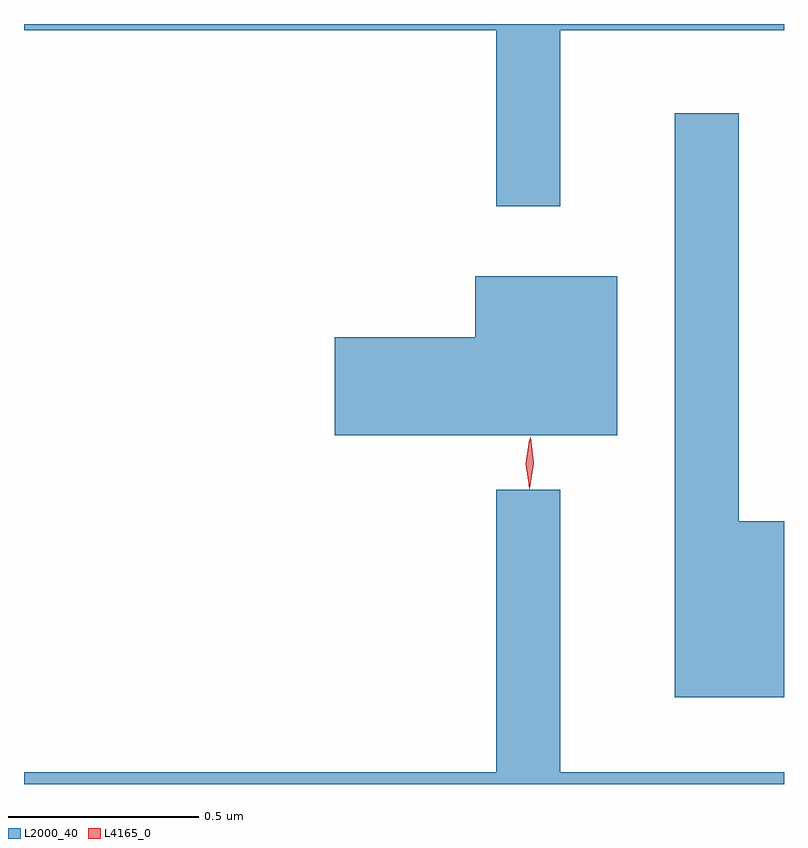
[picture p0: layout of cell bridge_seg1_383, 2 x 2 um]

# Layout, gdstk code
import gdstk
lib = gdstk.Library(unit=1e-6, precision=1e-09)
def P(c, l, *ps):  # polygons
    for p in ps: c.add(gdstk.Polygon(p, *l))
L2000_40 = (2000, 40)
L4165_0 = (4165, 0)

bridge_seg1_383 = lib.new_cell('bridge_seg1_383')
P(bridge_seg1_383, L2000_40, [(892.249,872.936),(892.838,872.936),(892.838,872.953),(890.838,872.953),(890.838,872.936),(892.081,872.936),(892.081,872.473),(892.249,872.473)],
  [(892.838,871.644),(892.719,871.644),(892.719,872.718),(892.551,872.718),(892.551,871.181),(892.838,871.181)],
  [(892.399,872.289),(892.026,872.289),(892.026,872.129),(891.656,872.129),(891.656,871.871),(892.399,871.871)],
  [(892.838,870.984),(892.249,870.984),(892.249,871.728),(892.081,871.728),(892.081,870.984),(890.838,870.984),(890.838,870.953),(892.838,870.953)])
P(bridge_seg1_383, L4165_0, [(892.169,871.733),(892.168,871.734),(892.159,871.796),(892.168,871.859),(892.169,871.86),(892.169,871.859),(892.179,871.796),(892.169,871.734)],
  [(892.168,871.73),(892.16,871.798),(892.17,871.865),(892.171,871.866),(892.171,871.865),(892.18,871.798),(892.169,871.73),(892.169,871.73)])

lib.write_gds('bridge_seg1_383.gds')
